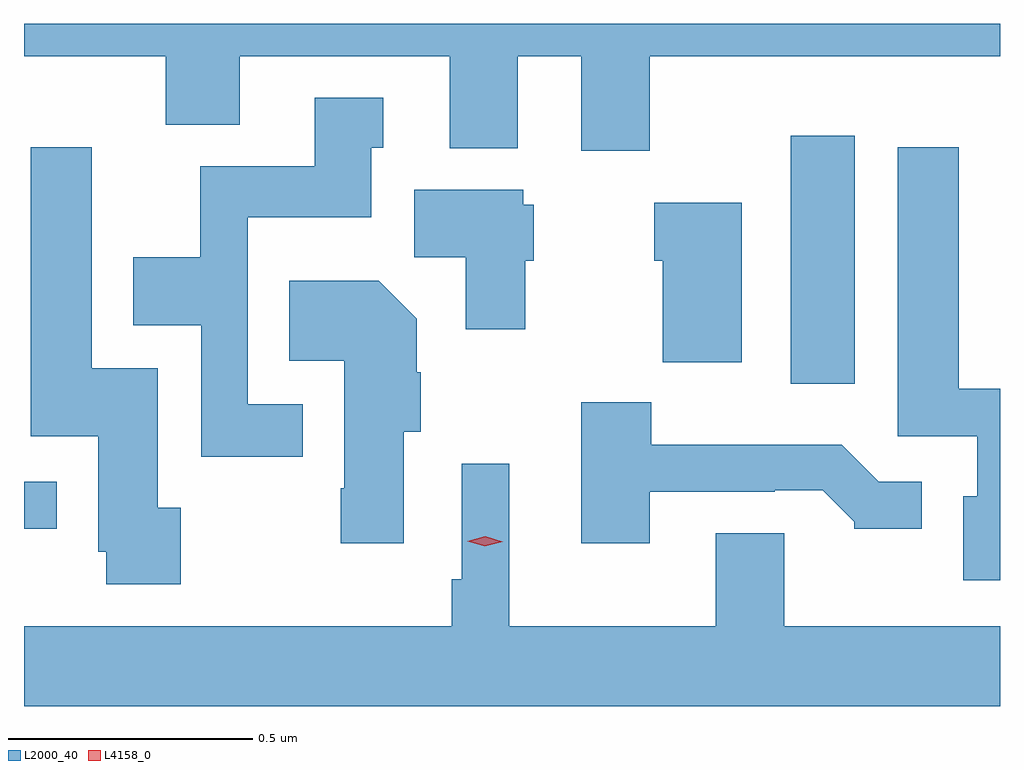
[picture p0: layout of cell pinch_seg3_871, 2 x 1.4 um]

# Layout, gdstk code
import gdstk
lib = gdstk.Library(unit=1e-6, precision=1e-09)
def R(c, l, rs):  # rectangles x0, y0, x1, y1
    for r in rs: c.add(gdstk.rectangle(r[:2], r[2:], *l))
def P(c, l, *ps):  # polygons
    for p in ps: c.add(gdstk.Polygon(p, *l))
L2000_40 = (2000, 40)
L4158_0 = (4158, 0)

pinch_seg3_871 = lib.new_cell('pinch_seg3_871')
R(pinch_seg3_871, L2000_40, [(689.487,674.639,689.554,674.736), (691.058,674.937,691.189,675.445)])
P(pinch_seg3_871, L2000_40, [(690.769,675.608),(691.487,675.608),(691.487,675.674),(689.487,675.674),(689.487,675.608),(689.777,675.608),(689.777,675.467),(689.929,675.467),(689.929,675.608),(690.359,675.608),(690.359,675.419),(690.499,675.419),(690.499,675.608),(690.629,675.608),(690.629,675.414),(690.769,675.414)],
  [(690.058,674.895),(689.946,674.895),(689.946,675.278),(690.199,675.278),(690.199,675.42),(690.223,675.42),(690.223,675.523),(690.083,675.523),(690.083,675.382),(689.848,675.382),(689.848,675.196),(689.711,675.196),(689.711,675.056),(689.85,675.056),(689.85,674.787),(690.058,674.787)],
  [(691.487,674.926),(691.402,674.926),(691.402,675.421),(691.277,675.421),(691.277,674.829),(691.44,674.829),(691.44,674.706),(691.412,674.706),(691.412,674.534),(691.487,674.534)],
  [(689.808,674.682),(689.761,674.682),(689.761,674.968),(689.626,674.968),(689.626,675.421),(689.501,675.421),(689.501,674.829),(689.639,674.829),(689.639,674.592),(689.656,674.592),(689.656,674.526),(689.808,674.526)],
  [(690.514,675.189),(690.532,675.189),(690.532,675.303),(690.51,675.303),(690.51,675.334),(690.287,675.334),(690.287,675.196),(690.392,675.196),(690.392,675.048),(690.514,675.048)],
  [(690.958,675.307),(690.779,675.307),(690.779,675.189),(690.796,675.189),(690.796,674.981),(690.958,674.981)],
  [(690.265,674.838),(690.3,674.838),(690.3,674.96),(690.292,674.96),(690.292,675.07),(690.214,675.148),(690.031,675.148),(690.031,674.984),(690.143,674.984),(690.143,674.722),(690.136,674.722),(690.136,674.61),(690.265,674.61)],
  [(690.769,674.715),(691.025,674.715),(691.025,674.718),(691.124,674.718),(691.188,674.654),(691.188,674.639),(691.327,674.639),(691.327,674.736),(691.239,674.736),(691.163,674.812),(690.772,674.812),(690.772,674.899),(690.629,674.899),(690.629,674.61),(690.769,674.61)],
  [(691.487,674.44),(691.045,674.44),(691.045,674.63),(690.905,674.63),(690.905,674.44),(690.481,674.44),(690.481,674.773),(690.384,674.773),(690.384,674.536),(690.364,674.536),(690.364,674.44),(689.487,674.44),(689.487,674.276),(691.487,674.276)])
P(pinch_seg3_871, L4158_0, [(690.431,674.604),(690.395,674.614),(690.395,674.614),(690.395,674.614),(690.432,674.624),(690.468,674.613),(690.468,674.613),(690.468,674.613)])

lib.write_gds('pinch_seg3_871.gds')
